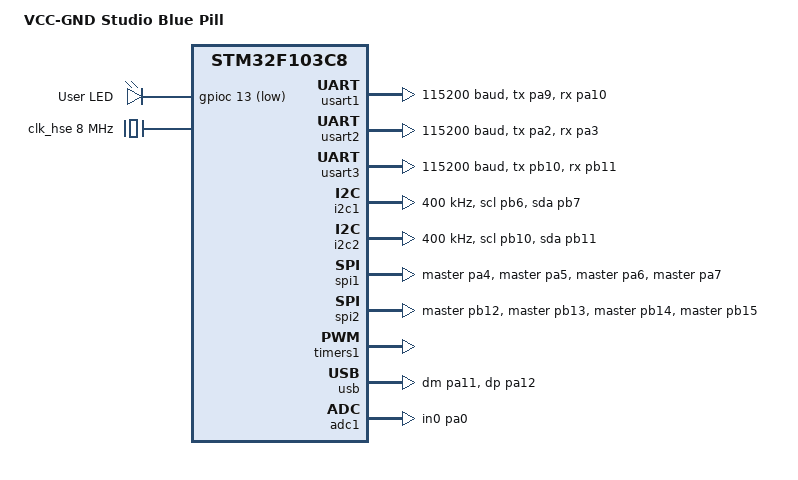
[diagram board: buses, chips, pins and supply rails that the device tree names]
/*
 * Copyright (c) 2022 TiaC Systems
 * Copyright (c) 2017, embedjournal.com
 * SPDX-License-Identifier: Apache-2.0
 */

/dts-v1/;
#include <st/f1/stm32f103X8.dtsi>
#include <st/f1/stm32f103r(8-b)tx-pinctrl.dtsi>

/ {
	model = "VCC-GND Studio Blue Pill";
	compatible = "vccgnd,bluepill", "st,stm32f103c8";

	chosen {
		zephyr,console = &usart1;
		zephyr,shell-uart = &usart1;
		zephyr,osdp-uart = &usart2;
		zephyr,sram = &sram0;
		zephyr,flash = &flash0;
		zephyr,code-partition = &code_partition;
	};

	leds {
		compatible = "gpio-leds";
		user_led: led {
			gpios = <&gpioc 13 GPIO_ACTIVE_LOW>;
			label = "User LED";
		};
	};

	aliases {
		led0 = &user_led;
	};
};

&flash0 {

	partitions {
		compatible = "fixed-partitions";
		#address-cells = <1>;
		#size-cells = <1>;

		boot_partition: partition@0 {
			label = "duinodfuboot";
			reg = <0x00000000 DT_SIZE_K(8)>;
			read-only;
		};

		code_partition: partition@2000 {
			label = "code";
			reg = <0x00002000 DT_SIZE_K(128-8-16)>;
		};

		/*
		 * The final 16 KiB is reserved for the application.
		 * Storage partition may be used by FCB or LittleFS.
		 */

		storage_partition: partition@7c000 {
			label = "storage";
			reg = <0x0007c000 DT_SIZE_K(16)>;
		};
	};
};

&clk_hse {
	clock-frequency = <DT_FREQ_M(8)>;
	status = "okay";
};

&pll {
	mul = <9>;
	clocks = <&clk_hse>;
	status = "okay";
};

&rcc {
	clocks = <&pll>;
	clock-frequency = <DT_FREQ_M(72)>;
	ahb-prescaler = <1>;
	apb1-prescaler = <2>;
	apb2-prescaler = <1>;
};

&usart1 {
	pinctrl-0 = <&usart1_tx_pa9 &usart1_rx_pa10>;
	current-speed = <115200>;
	pinctrl-names = "default";
	status = "okay";
};

&usart2 {
	pinctrl-0 = <&usart2_tx_pa2 &usart2_rx_pa3>;
	current-speed = <115200>;
	pinctrl-names = "default";
	status = "okay";
};

&usart3 {
	pinctrl-0 = <&usart3_tx_pb10 &usart3_rx_pb11>;
	current-speed = <115200>;
	pinctrl-names = "default";
	status = "okay";
};

&i2c1 {
	pinctrl-0 = < &i2c1_scl_pb6 &i2c1_sda_pb7 >;
	status = "okay";
	pinctrl-names = "default";
	clock-frequency = <I2C_BITRATE_FAST>;
};

&i2c2 {
	pinctrl-0 = < &i2c2_scl_pb10 &i2c2_sda_pb11 >;
	pinctrl-names = "default";
	status = "okay";
	clock-frequency = <I2C_BITRATE_FAST>;
};

&spi1 {
	pinctrl-0 = <&spi1_nss_master_pa4 &spi1_sck_master_pa5
		     &spi1_miso_master_pa6 &spi1_mosi_master_pa7>;
	pinctrl-names = "default";
	status = "okay";
};

&spi2 {
	pinctrl-0 = <&spi2_nss_master_pb12 &spi2_sck_master_pb13
		     &spi2_miso_master_pb14 &spi2_mosi_master_pb15>;
	pinctrl-names = "default";
	status = "okay";
};

&timers1 {
	status = "okay";

	pwm1: pwm {
		status = "okay";
		pinctrl-0 = <&tim1_ch1_pwm_pa8>;
		pinctrl-names = "default";
	};
};

&usb {
	pinctrl-0 = <&usb_dm_pa11 &usb_dp_pa12>;
	pinctrl-names = "default";
	status = "okay";
};

&adc1 {
	pinctrl-0 = <&adc1_in0_pa0>;
	pinctrl-names = "default";
	status = "okay";
};
